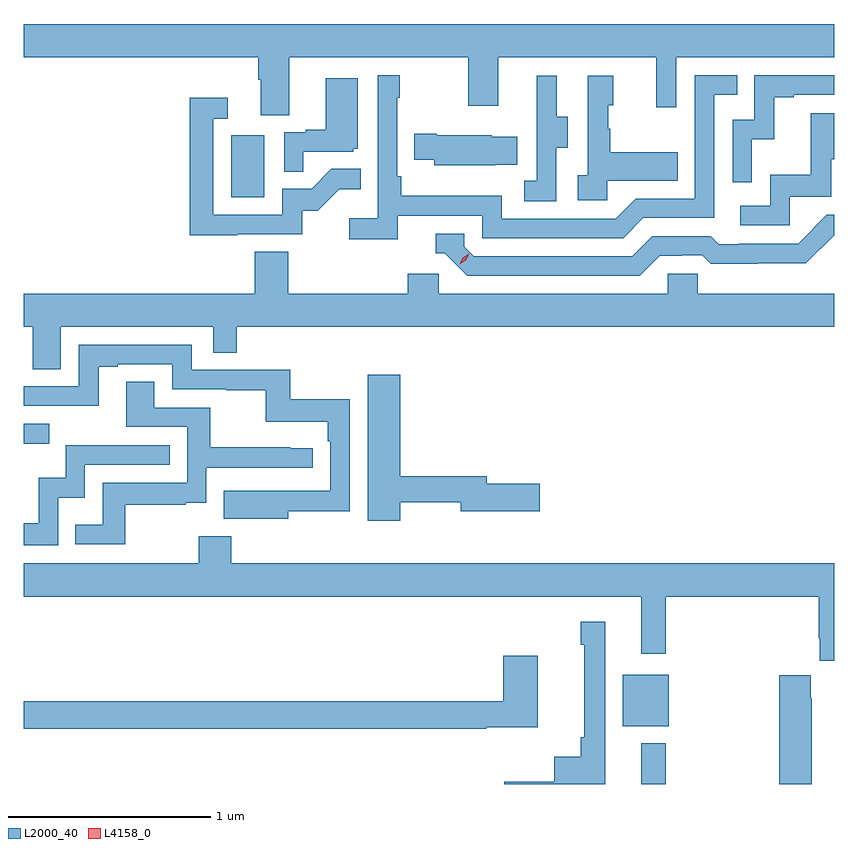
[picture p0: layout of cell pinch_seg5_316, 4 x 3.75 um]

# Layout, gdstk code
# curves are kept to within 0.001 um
import gdstk
lib = gdstk.Library(unit=1e-6, precision=1e-09)
def R(c, l, rs):  # rectangles x0, y0, x1, y1
    for r in rs: c.add(gdstk.rectangle(r[:2], r[2:], *l))
def P(c, l, *ps):  # polygons
    for p in ps: c.add(gdstk.Polygon(p, *l))
L2000_40 = (2000, 40)
L4158_0 = (4158, 0)

pinch_seg5_316 = lib.new_cell('pinch_seg5_316')
R(pinch_seg5_316, L2000_40, [(928.361,871.819,928.483,872.02), (928.271,872.105,928.498,872.359), (925.313,873.5,925.438,873.597), (926.336,874.716,926.5,875.023)])
P(pinch_seg5_316, L2000_40, [(926.623,875.408),(927.508,875.408),(927.508,875.169),(927.655,875.169),(927.655,875.408),(928.436,875.408),(928.436,875.16),(928.533,875.16),(928.533,875.408),(929.313,875.408),(929.313,875.572),(925.313,875.572),(925.313,875.408),(926.471,875.408),(926.471,875.296),(926.483,875.296),(926.483,875.122),(926.623,875.122)],
  [(927.158,874.626),(927.576,874.626),(927.576,874.515),(928.273,874.515),(928.372,874.614),(928.722,874.614),(928.722,875.223),(928.835,875.223),(928.835,875.319),(928.626,875.319),(928.626,874.71),(928.335,874.71),(928.236,874.611),(927.672,874.611),(927.672,874.723),(927.176,874.723),(927.176,874.819),(927.156,874.819),(927.156,875.207),(927.169,875.207),(927.169,875.32),(927.06,875.32),(927.06,874.612),(926.919,874.612),(926.919,874.51),(927.158,874.51)],
  [(928.908,875.003),(929.018,875.003),(929.018,875.211),(929.113,875.211),(929.113,875.223),(929.313,875.223),(929.313,875.319),(928.92,875.319),(928.92,875.1),(928.812,875.1),(928.812,874.791),(928.908,874.791)],
  [(928.194,874.799),(928.541,874.799),(928.541,874.939),(928.207,874.939),(928.207,875.054),(928.197,875.054),(928.197,875.172),(928.222,875.172),(928.222,875.317),(928.098,875.317),(928.098,874.826),(928.047,874.826),(928.047,874.701),(928.194,874.701)],
  [(927.942,874.96),(927.997,874.96),(927.997,875.115),(927.943,875.115),(927.943,875.317),(927.845,875.317),(927.845,875.103),(927.846,875.103),(927.846,874.799),(927.783,874.799),(927.783,874.696),(927.942,874.696)],
  [(926.693,874.941),(926.94,874.941),(926.94,874.956),(926.962,874.956),(926.962,875.305),(926.804,875.305),(926.804,875.05),(926.705,875.05),(926.705,875.037),(926.598,875.037),(926.598,874.843),(926.693,874.843)],
  [(926.369,874.533),(926.688,874.533),(926.688,874.65),(926.764,874.65),(926.871,874.757),(926.975,874.757),(926.975,874.856),(926.831,874.856),(926.733,874.758),(926.589,874.758),(926.589,874.629),(926.247,874.629),(926.247,875.103),(926.32,875.103),(926.32,875.209),(926.131,875.209),(926.131,874.528),(926.369,874.528)],
  [(929.094,874.719),(929.299,874.719),(929.299,874.905),(929.313,874.905),(929.313,875.131),(929.197,875.131),(929.197,874.828),(928.998,874.828),(928.998,874.674),(928.851,874.674),(928.851,874.578),(929.094,874.578)],
  [(927.641,874.877),(927.749,874.877),(927.749,875.014),(927.624,875.014),(927.624,875.023),(927.352,875.023),(927.352,875.031),(927.241,875.031),(927.241,874.901),(927.339,874.901),(927.339,874.874),(927.641,874.874)],
  [(928.453,874.428),(928.56,874.428),(928.56,874.431),(928.663,874.431),(928.705,874.389),(928.938,874.389),(928.938,874.391),(929.174,874.391),(929.313,874.53),(929.313,874.629),(929.277,874.629),(929.136,874.488),(928.843,874.488),(928.843,874.485),(928.744,874.485),(928.705,874.524),(928.416,874.524),(928.317,874.425),(927.534,874.425),(927.486,874.473),(927.486,874.536),(927.347,874.536),(927.347,874.44),(927.39,874.44),(927.501,874.329),(928.354,874.329)],
  [(925.495,874.076),(926.247,874.076),(926.247,873.949),(926.363,873.949),(926.363,874.076),(929.313,874.076),(929.313,874.24),(928.641,874.24),(928.641,874.338),(928.491,874.338),(928.491,874.24),(927.36,874.24),(927.36,874.338),(927.209,874.338),(927.209,874.24),(926.618,874.24),(926.618,874.448),(926.453,874.448),(926.453,874.24),(925.313,874.24),(925.313,874.076),(925.356,874.076),(925.356,873.868),(925.495,873.868)],
  [(926.617,873.166),(926.922,873.166),(926.922,873.718),(926.629,873.718),(926.629,873.864),(926.142,873.864),(926.142,873.987),(925.584,873.987),(925.584,873.783),(925.313,873.784),(925.313,873.687),(925.681,873.686),(925.681,873.879),(925.777,873.879),(925.777,873.891),(926.046,873.891),(926.046,873.768),(926.311,873.768),(926.311,873.763),(926.508,873.763),(926.508,873.608),(926.813,873.608),(926.813,873.512),(926.826,873.512),(926.826,873.267),(926.299,873.268),(926.299,873.128),(926.617,873.128)],
  [(927.172,873.21),(927.47,873.21),(927.47,873.167),(927.859,873.167),(927.859,873.302),(927.598,873.302),(927.598,873.338),(927.172,873.338),(927.172,873.841),(927.011,873.841),(927.011,873.12),(927.172,873.12)],
  [(925.813,873.198),(926.111,873.198),(926.111,873.209),(926.214,873.209),(926.214,873.381),(926.74,873.381),(926.74,873.477),(926.627,873.477),(926.627,873.482),(926.234,873.482),(926.234,873.678),(925.957,873.678),(925.957,873.806),(925.817,873.806),(925.817,873.582),(926.118,873.582),(926.118,873.306),(925.702,873.306),(925.702,873.1),(925.567,873.1),(925.567,873.003),(925.813,873.003)],
  [(925.482,873.233),(925.614,873.233),(925.614,873.396),(926.033,873.396),(926.033,873.492),(925.518,873.492),(925.518,873.331),(925.385,873.331),(925.385,873.106),(925.313,873.106),(925.313,872.997),(925.482,872.997)],
  [(929.313,872.908),(926.336,872.908),(926.336,873.043),(926.176,873.043),(926.176,872.908),(925.313,872.908),(925.313,872.744),(928.361,872.744),(928.361,872.463),(928.483,872.463),(928.483,872.744),(929.237,872.744),(929.237,872.539),(929.243,872.539),(929.243,872.427),(929.313,872.427)],
  [(928.183,872.62),(928.062,872.62),(928.062,872.507),(928.079,872.507),(928.079,872.05),(928.062,872.05),(928.062,871.954),(927.932,871.954),(927.932,871.831),(927.684,871.831),(927.684,871.819),(928.183,871.819)],
  [(927.596,872.099),(927.85,872.099),(927.85,872.452),(927.68,872.452),(927.68,872.228),(925.313,872.228),(925.313,872.092),(927.596,872.092)],
  [(929.202,872.243),(929.197,872.243),(929.197,872.356),(929.042,872.356),(929.042,871.819),(929.202,871.819)])
P(pinch_seg5_316, L4158_0, [(927.464,874.386),(927.464,874.386),(927.48,874.418),(927.511,874.438),(927.511,874.438),(927.511,874.437),(927.495,874.405),(927.464,874.386)])

lib.write_gds('pinch_seg5_316.gds')
